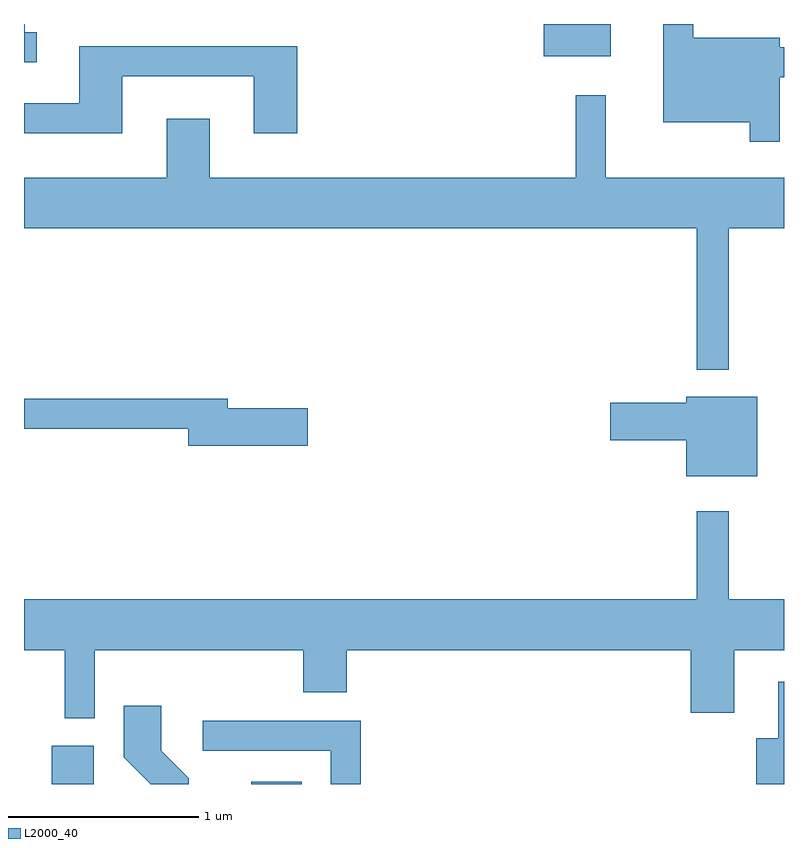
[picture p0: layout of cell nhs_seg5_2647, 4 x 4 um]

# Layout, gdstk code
import gdstk
lib = gdstk.Library(unit=1e-6, precision=1e-09)
def R(c, l, rs):  # rectangles x0, y0, x1, y1
    for r in rs: c.add(gdstk.rectangle(r[:2], r[2:], *l))
def P(c, l, *ps):  # polygons
    for p in ps: c.add(gdstk.Polygon(p, *l))
L2000_40 = (2000, 40)

nhs_seg5_2647 = lib.new_cell('nhs_seg5_2647')
R(nhs_seg5_2647, L2000_40, [(263.756,1476.072,263.979,1476.274), (264.806,1476.072,265.074,1476.084), (266.346,1479.901,266.699,1480.072)])
P(nhs_seg5_2647, L2000_40, [(263.678,1480.029),(263.614,1480.029),(263.614,1480.072),(263.611,1480.072),(263.611,1479.871),(263.678,1479.871)],
  [(267.589,1479.791),(267.611,1479.791),(267.611,1479.949),(267.589,1479.949),(267.589,1479.999),(267.134,1479.999),(267.134,1480.072),(266.976,1480.072),(266.976,1479.556),(267.431,1479.556),(267.431,1479.453),(267.589,1479.453)],
  [(264.129,1479.796),(264.821,1479.796),(264.821,1479.496),(265.049,1479.496),(265.049,1479.954),(263.901,1479.954),(263.901,1479.654),(263.611,1479.654),(263.611,1479.496),(264.129,1479.496)],
  [(267.319,1478.996),(267.611,1478.996),(267.611,1479.264),(266.674,1479.264),(266.674,1479.698),(266.516,1479.698),(266.516,1479.264),(264.589,1479.264),(264.589,1479.574),(264.361,1479.574),(264.361,1479.264),(263.611,1479.264),(263.611,1478.996),(267.151,1478.996),(267.151,1478.253),(267.319,1478.253)],
  [(267.469,1478.109),(267.096,1478.109),(267.096,1478.079),(266.696,1478.079),(266.696,1477.881),(267.096,1477.881),(267.096,1477.691),(267.469,1477.691)],
  [(265.104,1478.049),(264.684,1478.049),(264.684,1478.099),(263.611,1478.099),(263.611,1477.941),(264.476,1477.941),(264.476,1477.851),(265.104,1477.851)],
  [(263.984,1476.776),(265.081,1476.776),(265.081,1476.556),(265.309,1476.556),(265.309,1476.776),(267.121,1476.776),(267.121,1476.446),(267.349,1476.446),(267.349,1476.776),(267.611,1476.776),(267.611,1477.044),(267.319,1477.044),(267.319,1477.508),(267.151,1477.508),(267.151,1477.044),(263.611,1477.044),(263.611,1476.776),(263.826,1476.776),(263.826,1476.418),(263.984,1476.418)],
  [(267.611,1476.609),(267.581,1476.609),(267.581,1476.314),(267.466,1476.314),(267.466,1476.072),(267.611,1476.072)],
  [(264.479,1476.102),(264.334,1476.247),(264.334,1476.484),(264.136,1476.484),(264.136,1476.214),(264.278,1476.072),(264.479,1476.072)],
  [(265.384,1476.404),(264.553,1476.404),(264.553,1476.246),(265.226,1476.246),(265.226,1476.072),(265.384,1476.072)])

lib.write_gds('nhs_seg5_2647.gds')
